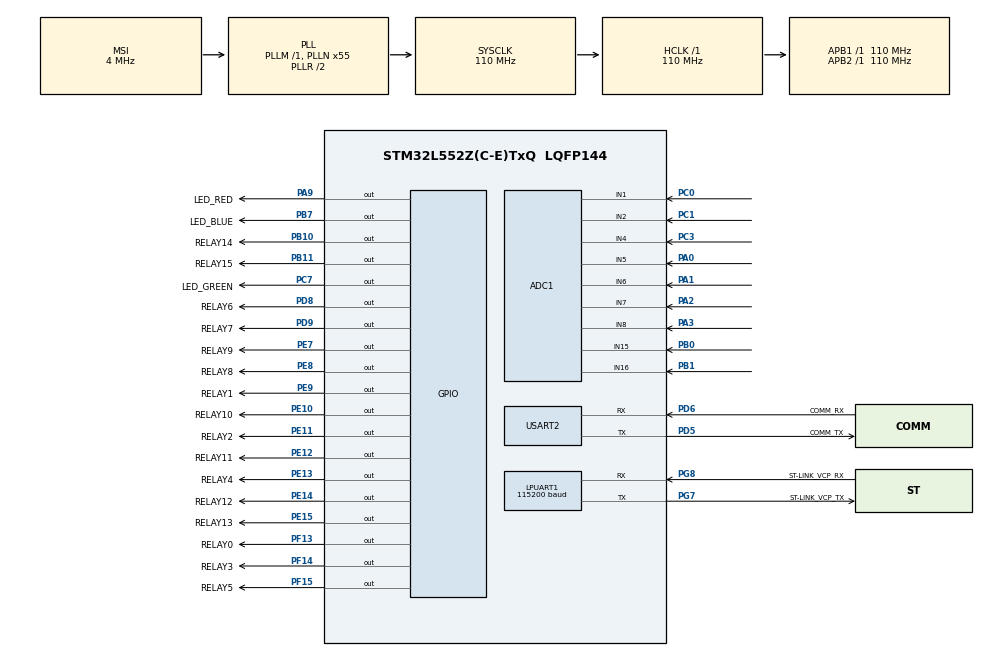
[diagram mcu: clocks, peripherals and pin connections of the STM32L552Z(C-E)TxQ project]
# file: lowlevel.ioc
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ADC1.Channel-0\#ChannelRegularConversion=ADC_CHANNEL_1
ADC1.Channel-1\#ChannelRegularConversion=ADC_CHANNEL_2
ADC1.Channel-2\#ChannelRegularConversion=ADC_CHANNEL_4
ADC1.Channel-3\#ChannelRegularConversion=ADC_CHANNEL_5
ADC1.Channel-4\#ChannelRegularConversion=ADC_CHANNEL_6
ADC1.Channel-5\#ChannelRegularConversion=ADC_CHANNEL_7
ADC1.Channel-6\#ChannelRegularConversion=ADC_CHANNEL_8
ADC1.Channel-7\#ChannelRegularConversion=ADC_CHANNEL_15
ADC1.Channel-8\#ChannelRegularConversion=ADC_CHANNEL_16
ADC1.ClockPrescaler=ADC_CLOCK_ASYNC_DIV64
ADC1.ContinuousConvMode=ENABLE
ADC1.EOCSelection=ADC_EOC_SEQ_CONV
ADC1.NbrOfConversion=9
ADC1.NbrOfConversionFlag=1
ADC1.OffsetNumber-0\#ChannelRegularConversion=ADC_OFFSET_NONE
ADC1.OffsetNumber-1\#ChannelRegularConversion=ADC_OFFSET_NONE
ADC1.OffsetNumber-2\#ChannelRegularConversion=ADC_OFFSET_NONE
ADC1.OffsetNumber-3\#ChannelRegularConversion=ADC_OFFSET_NONE
ADC1.OffsetNumber-4\#ChannelRegularConversion=ADC_OFFSET_NONE
ADC1.OffsetNumber-5\#ChannelRegularConversion=ADC_OFFSET_NONE
ADC1.OffsetNumber-6\#ChannelRegularConversion=ADC_OFFSET_NONE
ADC1.OffsetNumber-7\#ChannelRegularConversion=ADC_OFFSET_NONE
ADC1.OffsetNumber-8\#ChannelRegularConversion=ADC_OFFSET_NONE
ADC1.Rank-0\#ChannelRegularConversion=1
ADC1.Rank-1\#ChannelRegularConversion=2
ADC1.Rank-2\#ChannelRegularConversion=3
ADC1.Rank-3\#ChannelRegularConversion=4
ADC1.Rank-4\#ChannelRegularConversion=5
ADC1.Rank-5\#ChannelRegularConversion=6
ADC1.Rank-6\#ChannelRegularConversion=7
ADC1.Rank-7\#ChannelRegularConversion=8
ADC1.Rank-8\#ChannelRegularConversion=9
ADC1.SamplingTime-0\#ChannelRegularConversion=ADC_SAMPLETIME_2CYCLES_5
ADC1.SamplingTime-1\#ChannelRegularConversion=ADC_SAMPLETIME_2CYCLES_5
ADC1.SamplingTime-2\#ChannelRegularConversion=ADC_SAMPLETIME_2CYCLES_5
ADC1.SamplingTime-3\#ChannelRegularConversion=ADC_SAMPLETIME_2CYCLES_5
ADC1.SamplingTime-4\#ChannelRegularConversion=ADC_SAMPLETIME_2CYCLES_5
ADC1.SamplingTime-5\#ChannelRegularConversion=ADC_SAMPLETIME_2CYCLES_5
ADC1.SamplingTime-6\#ChannelRegularConversion=ADC_SAMPLETIME_2CYCLES_5
ADC1.SamplingTime-7\#ChannelRegularConversion=ADC_SAMPLETIME_2CYCLES_5
ADC1.SamplingTime-8\#ChannelRegularConversion=ADC_SAMPLETIME_2CYCLES_5
ADC1.master=1
Dma.ADC1.4.Channel_PRIV_NPRIV=DMA_CHANNEL_NPRIV_DISABLE
Dma.ADC1.4.Direction=DMA_PERIPH_TO_MEMORY
Dma.ADC1.4.EventEnable=DISABLE
Dma.ADC1.4.Instance=DMA1_Channel3
Dma.ADC1.4.MemDataAlignment=DMA_MDATAALIGN_HALFWORD
Dma.ADC1.4.MemInc=DMA_MINC_ENABLE
Dma.ADC1.4.Mode=DMA_NORMAL
Dma.ADC1.4.PeriphDataAlignment=DMA_PDATAALIGN_HALFWORD
Dma.ADC1.4.PeriphInc=DMA_PINC_DISABLE
Dma.ADC1.4.Polarity=HAL_DMAMUX_REQ_GEN_RISING
Dma.ADC1.4.Priority=DMA_PRIORITY_LOW
Dma.ADC1.4.RequestNumber=1
Dma.ADC1.4.SignalID=NONE
Dma.ADC1.4.SyncEnable=DISABLE
Dma.ADC1.4.SyncPolarity=HAL_DMAMUX_SYNC_NO_EVENT
Dma.ADC1.4.SyncRequestNumber=1
Dma.ADC1.4.SyncSignalID=NONE
Dma.LPUART1_RX.0.Channel_PRIV_NPRIV=DMA_CHANNEL_NPRIV_DISABLE
Dma.LPUART1_RX.0.Direction=DMA_PERIPH_TO_MEMORY
Dma.LPUART1_RX.0.EventEnable=DISABLE
Dma.LPUART1_RX.0.Instance=DMA1_Channel1
Dma.LPUART1_RX.0.MemDataAlignment=DMA_MDATAALIGN_BYTE
Dma.LPUART1_RX.0.MemInc=DMA_MINC_ENABLE
Dma.LPUART1_RX.0.Mode=DMA_CIRCULAR
Dma.LPUART1_RX.0.PeriphDataAlignment=DMA_PDATAALIGN_BYTE
Dma.LPUART1_RX.0.PeriphInc=DMA_PINC_DISABLE
Dma.LPUART1_RX.0.Polarity=HAL_DMAMUX_REQ_GEN_RISING
Dma.LPUART1_RX.0.Priority=DMA_PRIORITY_LOW
Dma.LPUART1_RX.0.RequestNumber=1
Dma.LPUART1_RX.0.SignalID=NONE
Dma.LPUART1_RX.0.SyncEnable=DISABLE
Dma.LPUART1_RX.0.SyncPolarity=HAL_DMAMUX_SYNC_NO_EVENT
Dma.LPUART1_RX.0.SyncRequestNumber=1
Dma.LPUART1_RX.0.SyncSignalID=NONE
Dma.LPUART1_TX.1.Channel_PRIV_NPRIV=DMA_CHANNEL_NPRIV_DISABLE
Dma.LPUART1_TX.1.Direction=DMA_MEMORY_TO_PERIPH
Dma.LPUART1_TX.1.EventEnable=DISABLE
Dma.LPUART1_TX.1.Instance=DMA1_Channel2
Dma.LPUART1_TX.1.MemDataAlignment=DMA_MDATAALIGN_BYTE
Dma.LPUART1_TX.1.MemInc=DMA_MINC_ENABLE
Dma.LPUART1_TX.1.Mode=DMA_NORMAL
Dma.LPUART1_TX.1.PeriphDataAlignment=DMA_PDATAALIGN_BYTE
Dma.LPUART1_TX.1.PeriphInc=DMA_PINC_DISABLE
Dma.LPUART1_TX.1.Polarity=HAL_DMAMUX_REQ_GEN_RISING
Dma.LPUART1_TX.1.Priority=DMA_PRIORITY_LOW
Dma.LPUART1_TX.1.RequestNumber=1
Dma.LPUART1_TX.1.SignalID=NONE
Dma.LPUART1_TX.1.SyncEnable=DISABLE
Dma.LPUART1_TX.1.SyncPolarity=HAL_DMAMUX_SYNC_NO_EVENT
Dma.LPUART1_TX.1.SyncRequestNumber=1
Dma.LPUART1_TX.1.SyncSignalID=NONE
Dma.Request0=LPUART1_RX
Dma.Request1=LPUART1_TX
Dma.Request2=USART2_RX
Dma.Request3=USART2_TX
Dma.Request4=ADC1
Dma.USART2_RX.2.Channel_PRIV_NPRIV=DMA_CHANNEL_NPRIV_DISABLE
Dma.USART2_RX.2.Direction=DMA_PERIPH_TO_MEMORY
Dma.USART2_RX.2.EventEnable=DISABLE
Dma.USART2_RX.2.Instance=DMA2_Channel1
Dma.USART2_RX.2.MemDataAlignment=DMA_MDATAALIGN_BYTE
Dma.USART2_RX.2.MemInc=DMA_MINC_ENABLE
Dma.USART2_RX.2.Mode=DMA_CIRCULAR
Dma.USART2_RX.2.PeriphDataAlignment=DMA_PDATAALIGN_BYTE
Dma.USART2_RX.2.PeriphInc=DMA_PINC_DISABLE
Dma.USART2_RX.2.Polarity=HAL_DMAMUX_REQ_GEN_RISING
Dma.USART2_RX.2.Priority=DMA_PRIORITY_LOW
Dma.USART2_RX.2.RequestNumber=1
Dma.USART2_RX.2.SignalID=NONE
Dma.USART2_RX.2.SyncEnable=DISABLE
Dma.USART2_RX.2.SyncPolarity=HAL_DMAMUX_SYNC_NO_EVENT
Dma.USART2_RX.2.SyncRequestNumber=1
Dma.USART2_RX.2.SyncSignalID=NONE
Dma.USART2_TX.3.Channel_PRIV_NPRIV=DMA_CHANNEL_NPRIV_DISABLE
Dma.USART2_TX.3.Direction=DMA_MEMORY_TO_PERIPH
Dma.USART2_TX.3.EventEnable=DISABLE
Dma.USART2_TX.3.Instance=DMA2_Channel2
Dma.USART2_TX.3.MemDataAlignment=DMA_MDATAALIGN_BYTE
Dma.USART2_TX.3.MemInc=DMA_MINC_ENABLE
Dma.USART2_TX.3.Mode=DMA_NORMAL
Dma.USART2_TX.3.PeriphDataAlignment=DMA_PDATAALIGN_BYTE
Dma.USART2_TX.3.PeriphInc=DMA_PINC_DISABLE
Dma.USART2_TX.3.Polarity=HAL_DMAMUX_REQ_GEN_RISING
Dma.USART2_TX.3.Priority=DMA_PRIORITY_LOW
Dma.USART2_TX.3.RequestNumber=1
Dma.USART2_TX.3.SignalID=NONE
Dma.USART2_TX.3.SyncEnable=DISABLE
Dma.USART2_TX.3.SyncPolarity=HAL_DMAMUX_SYNC_NO_EVENT
Dma.USART2_TX.3.SyncRequestNumber=1
Dma.USART2_TX.3.SyncSignalID=NONE
LPUART1.BaudRate=115200
Mcu.Family=STM32L5
Mcu.Name=STM32L552Z(C-E)TxQ
Mcu.Package=LQFP144
Mcu.TrustZone=disable
NVIC.DMA1_Channel1_IRQn=true\:0\:0\:false\:false\:true\:false\:true\:true
NVIC.DMA1_Channel2_IRQn=true\:0\:0\:false\:false\:true\:false\:true\:true
NVIC.DMA1_Channel3_IRQn=true\:0\:0\:false\:false\:true\:false\:true\:true
NVIC.DMA2_Channel1_IRQn=true\:0\:0\:false\:false\:true\:false\:true\:true
NVIC.DMA2_Channel2_IRQn=true\:0\:0\:false\:false\:true\:false\:true\:true
NVIC.FLASH_IRQn=true\:0\:0\:false\:false\:true\:true\:true\:true
NVIC.LPUART1_IRQn=true\:0\:0\:false\:false\:true\:true\:true\:true
NVIC.PriorityGroup=NVIC_PRIORITYGROUP_3
NVIC.TIM2_IRQn=true\:0\:0\:false\:false\:true\:true\:true\:true
PA0.Signal=ADCx_IN5
PA1.Signal=ADCx_IN6
PA13\ (JTMS/SWDIO).Mode=Trace_Asynchronous_SW
PA13\ (JTMS/SWDIO).Signal=DEBUG_JTMS-SWDIO
PA14\ (JTCK/SWCLK).Mode=Trace_Asynchronous_SW
PA14\ (JTCK/SWCLK).Signal=DEBUG_JTCK-SWCLK
PA2.Signal=ADCx_IN7
PA3.Signal=ADCx_IN8
PA9.GPIO_Label=LED_RED
PA9.Signal=GPIO_Output
PB0.Signal=ADCx_IN15
PB1.Signal=ADCx_IN16
PB10.GPIO_Label=RELAY14
PB10.GPIO_ModeDefaultOutputPP=GPIO_MODE_OUTPUT_OD
PB10.GPIO_PuPd=GPIO_NOPULL
PB10.Signal=GPIO_Output
PB11.GPIO_Label=RELAY15
PB11.GPIO_ModeDefaultOutputPP=GPIO_MODE_OUTPUT_OD
PB11.GPIO_PuPd=GPIO_NOPULL
PB11.Signal=GPIO_Output
PB3\ (JTDO/TRACESWO).Mode=Trace_Asynchronous_SW
PB3\ (JTDO/TRACESWO).Signal=DEBUG_JTDO-SWO
PB7.GPIO_Label=LED_BLUE
PB7.Signal=GPIO_Output
PC0.Signal=ADCx_IN1
PC1.Signal=ADCx_IN2
PC14-OSC32_IN\ (PC14).Mode=LSE-External-Oscillator
PC14-OSC32_IN\ (PC14).Signal=RCC_OSC32_IN
PC15-OSC32_OUT\ (PC15).Mode=LSE-External-Oscillator
PC15-OSC32_OUT\ (PC15).Signal=RCC_OSC32_OUT
PC3.Signal=ADCx_IN4
PC7.GPIO_Label=LED_GREEN
PC7.Signal=GPIO_Output
PD5.GPIO_Label=COMM_TX
PD5.Mode=Asynchronous
PD5.Signal=USART2_TX
PD6.GPIO_Label=COMM_RX
PD6.Mode=Asynchronous
PD6.Signal=USART2_RX
PD8.GPIO_Label=RELAY6
PD8.GPIO_ModeDefaultOutputPP=GPIO_MODE_OUTPUT_OD
PD8.GPIO_PuPd=GPIO_NOPULL
PD8.Signal=GPIO_Output
PD9.GPIO_Label=RELAY7
PD9.GPIO_ModeDefaultOutputPP=GPIO_MODE_OUTPUT_OD
PD9.GPIO_PuPd=GPIO_NOPULL
PD9.Signal=GPIO_Output
PE10.GPIO_Label=RELAY10
PE10.GPIO_ModeDefaultOutputPP=GPIO_MODE_OUTPUT_OD
PE10.GPIO_PuPd=GPIO_NOPULL
PE10.Signal=GPIO_Output
PE11.GPIO_Label=RELAY2
PE11.GPIO_ModeDefaultOutputPP=GPIO_MODE_OUTPUT_OD
PE11.GPIO_PuPd=GPIO_NOPULL
PE11.Signal=GPIO_Output
PE12.GPIO_Label=RELAY11
PE12.GPIO_ModeDefaultOutputPP=GPIO_MODE_OUTPUT_OD
PE12.GPIO_PuPd=GPIO_NOPULL
PE12.Signal=GPIO_Output
PE13.GPIO_Label=RELAY4
PE13.GPIO_ModeDefaultOutputPP=GPIO_MODE_OUTPUT_OD
PE13.GPIO_PuPd=GPIO_NOPULL
PE13.Signal=GPIO_Output
PE14.GPIO_Label=RELAY12
PE14.GPIO_ModeDefaultOutputPP=GPIO_MODE_OUTPUT_OD
PE14.GPIO_PuPd=GPIO_NOPULL
PE14.Signal=GPIO_Output
PE15.GPIO_Label=RELAY13
PE15.GPIO_ModeDefaultOutputPP=GPIO_MODE_OUTPUT_OD
PE15.GPIO_PuPd=GPIO_NOPULL
PE15.Signal=GPIO_Output
PE7.GPIO_Label=RELAY9
PE7.GPIO_ModeDefaultOutputPP=GPIO_MODE_OUTPUT_OD
PE7.GPIO_PuPd=GPIO_NOPULL
PE7.Signal=GPIO_Output
PE8.GPIO_Label=RELAY8
PE8.GPIO_ModeDefaultOutputPP=GPIO_MODE_OUTPUT_OD
PE8.GPIO_PuPd=GPIO_NOPULL
PE8.Signal=GPIO_Output
PE9.GPIO_Label=RELAY1
PE9.GPIO_ModeDefaultOutputPP=GPIO_MODE_OUTPUT_OD
PE9.GPIO_PuPd=GPIO_NOPULL
PE9.Signal=GPIO_Output
PF13.GPIO_Label=RELAY0
PF13.GPIO_ModeDefaultOutputPP=GPIO_MODE_OUTPUT_OD
PF13.GPIO_PuPd=GPIO_NOPULL
PF13.Signal=GPIO_Output
PF14.GPIO_Label=RELAY3
PF14.GPIO_ModeDefaultOutputPP=GPIO_MODE_OUTPUT_OD
PF14.GPIO_PuPd=GPIO_NOPULL
PF14.Signal=GPIO_Output
PF15.GPIO_Label=RELAY5
PF15.GPIO_ModeDefaultOutputPP=GPIO_MODE_OUTPUT_OD
PF15.GPIO_PuPd=GPIO_NOPULL
PF15.Signal=GPIO_Output
PG7.GPIO_Label=ST-LINK_VCP_TX
PG7.Mode=Asynchronous
PG7.Signal=LPUART1_TX
PG8.GPIO_Label=ST-LINK_VCP_RX
PG8.Mode=Asynchronous
PG8.Signal=LPUART1_RX
ProjectManager.HeapSize=0x200
ProjectManager.StackSize=0x400
ProjectManager.TargetToolchain=STM32CubeIDE
RCC.ADCCLockSelection=RCC_ADCCLKSOURCE_SYSCLK
RCC.ADCFreq_Value=110000000
RCC.AHBFreq_Value=110000000
RCC.APB1Freq_Value=110000000
RCC.APB1TimFreq_Value=110000000
RCC.APB2Freq_Value=110000000
RCC.APB2TimFreq_Value=110000000
RCC.CK48CLockSelection=RCC_USBCLKSOURCE_HSI48
RCC.CortexFreq_Value=110000000
RCC.HCLKFreq_Value=110000000
RCC.HSE_VALUE=8000000
RCC.HSI48_VALUE=48000000
RCC.HSI_VALUE=16000000
RCC.MSI_VALUE=4000000
RCC.PLLN=55
RCC.PLLSAI1N=24
RCC.RTCClockSelection=RCC_RTCCLKSOURCE_LSE
RCC.SYSCLKFreq_VALUE=110000000
RCC.SYSCLKSource=RCC_SYSCLKSOURCE_PLLCLK
RCC.USBFreq_Value=48000000
RCC.VCOOutputFreq_Value=220000000
SH.ADCx_IN1.0=ADC1_IN1,IN1-Single-Ended
SH.ADCx_IN15.0=ADC1_IN15,IN15-Single-Ended
SH.ADCx_IN16.0=ADC1_IN16,IN16-Single-Ended
SH.ADCx_IN2.0=ADC1_IN2,IN2-Single-Ended
SH.ADCx_IN4.0=ADC1_IN4,IN4-Single-Ended
SH.ADCx_IN5.0=ADC1_IN5,IN5-Single-Ended
SH.ADCx_IN6.0=ADC1_IN6,IN6-Single-Ended
SH.ADCx_IN7.0=ADC1_IN7,IN7-Single-Ended
SH.ADCx_IN8.0=ADC1_IN8,IN8-Single-Ended
TIM2.ClockDivision=TIM_CLOCKDIVISION_DIV1
TIM2.Prescaler=54999
USART2.VirtualMode-Asynchronous=VM_ASYNC
VP_ICACHE_VS_ICACHE.Mode=DirectMappedCache
VP_RTC_VS_RTC_Activate.Mode=RTC_Enabled
VP_TIM2_VS_ClockSourceINT.Mode=Internal
board=NUCLEO-L552ZE-Q

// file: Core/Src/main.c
/* USER CODE BEGIN Header */
/**
  ******************************************************************************
  * @file           : main.c
  * @brief          : Main program body
  ******************************************************************************
  * @attention
  *
  * Copyright (c) 2023 STMicroelectronics.
  * All rights reserved.
  *
  * This software is licensed under terms that can be found in the LICENSE file
  * in the root directory of this software component.
  * If no LICENSE file comes with this software, it is provided AS-IS.
  *
  ******************************************************************************
  */
/* USER CODE END Header */
#include "main.h"

ADC_HandleTypeDef hadc1;
DMA_HandleTypeDef hdma_adc1;

UART_HandleTypeDef hlpuart1;
UART_HandleTypeDef huart2;
DMA_HandleTypeDef hdma_lpuart1_rx;
DMA_HandleTypeDef hdma_lpuart1_tx;
DMA_HandleTypeDef hdma_usart2_rx;
DMA_HandleTypeDef hdma_usart2_tx;

RTC_HandleTypeDef hrtc;

TIM_HandleTypeDef htim2;

void SystemClock_Config(void);
static void MX_GPIO_Init(void);
static void MX_DMA_Init(void);
static void MX_ICACHE_Init(void);
static void MX_LPUART1_UART_Init(void);
static void MX_RTC_Init(void);
static void MX_TIM2_Init(void);
static void MX_USART2_UART_Init(void);
static void MX_ADC1_Init(void);

/* USER CODE BEGIN 0 */

#define MAIN_UNINITIALIZED 1
#define MAIN_INIT 2
static uint8_t flags = MAIN_UNINITIALIZED;

void main_construct_init()
{
  if (flags & MAIN_UNINITIALIZED) {
    flags |= MAIN_INIT;
    main();
  }
}

/* USER CODE END 0 */

int main(void)
{
  /* USER CODE BEGIN 1 */

  /* flags:
   *   0 - jump to main loop
   *   MAIN_UNINITIALIZED - do all
   *   MAIN_UNINITIALIZED | MAIN_INIT - just initialize
   */
  if (!(flags & MAIN_UNINITIALIZED)) {
	goto skip_init;
  }

  /* USER CODE END 1 */

  /* MCU Configuration--------------------------------------------------------*/

  /* Reset of all peripherals, Initializes the Flash interface and the Systick. */
  HAL_Init();

  /* Configure the system clock */
  SystemClock_Config();

  /* Initialize all configured peripherals */
  MX_GPIO_Init();
  MX_DMA_Init();
  MX_ICACHE_Init();
  MX_LPUART1_UART_Init();
  MX_RTC_Init();
  MX_TIM2_Init();
  MX_USART2_UART_Init();
  MX_ADC1_Init();
  /* USER CODE BEGIN 2 */

  main_post_init();

  flags &= ~MAIN_UNINITIALIZED;

skip_init:

  if (flags & MAIN_INIT) {
	flags &= ~MAIN_INIT;
	return 0;
  }

  main_pre_loop();

  /* USER CODE END 2 */

  /* Infinite loop */
  while (1)
  {

    /* USER CODE BEGIN 3 */
	  main_loop();
  }
  /* USER CODE END 3 */
}

void SystemClock_Config(void)
{
  RCC_OscInitTypeDef RCC_OscInitStruct = {0};
  RCC_ClkInitTypeDef RCC_ClkInitStruct = {0};

  /** Configure the main internal regulator output voltage
  */
  if (HAL_PWREx_ControlVoltageScaling(PWR_REGULATOR_VOLTAGE_SCALE0) != HAL_OK)
  {
    Error_Handler();
  }

  /** Configure LSE Drive Capability
  */
  HAL_PWR_EnableBkUpAccess();
  __HAL_RCC_LSEDRIVE_CONFIG(RCC_LSEDRIVE_LOW);

  /** Initializes the RCC Oscillators according to the specified parameters
  * in the RCC_OscInitTypeDef structure.
  */
  RCC_OscInitStruct.OscillatorType = RCC_OSCILLATORTYPE_LSE|RCC_OSCILLATORTYPE_MSI;
  RCC_OscInitStruct.LSEState = RCC_LSE_ON;
  RCC_OscInitStruct.MSIState = RCC_MSI_ON;
  RCC_OscInitStruct.MSICalibrationValue = RCC_MSICALIBRATION_DEFAULT;
  RCC_OscInitStruct.MSIClockRange = RCC_MSIRANGE_6;
  RCC_OscInitStruct.PLL.PLLState = RCC_PLL_ON;
  RCC_OscInitStruct.PLL.PLLSource = RCC_PLLSOURCE_MSI;
  RCC_OscInitStruct.PLL.PLLM = 1;
  RCC_OscInitStruct.PLL.PLLN = 55;
  RCC_OscInitStruct.PLL.PLLP = RCC_PLLP_DIV7;
  RCC_OscInitStruct.PLL.PLLQ = RCC_PLLQ_DIV2;
  RCC_OscInitStruct.PLL.PLLR = RCC_PLLR_DIV2;
  if (HAL_RCC_OscConfig(&RCC_OscInitStruct) != HAL_OK)
  {
    Error_Handler();
  }

  /** Initializes the CPU, AHB and APB buses clocks
  */
  RCC_ClkInitStruct.ClockType = RCC_CLOCKTYPE_HCLK|RCC_CLOCKTYPE_SYSCLK
                              |RCC_CLOCKTYPE_PCLK1|RCC_CLOCKTYPE_PCLK2;
  RCC_ClkInitStruct.SYSCLKSource = RCC_SYSCLKSOURCE_PLLCLK;
  RCC_ClkInitStruct.AHBCLKDivider = RCC_SYSCLK_DIV1;
  RCC_ClkInitStruct.APB1CLKDivider = RCC_HCLK_DIV1;
  RCC_ClkInitStruct.APB2CLKDivider = RCC_HCLK_DIV1;

  if (HAL_RCC_ClockConfig(&RCC_ClkInitStruct, FLASH_LATENCY_5) != HAL_OK)
  {
    Error_Handler();
  }
}

static void MX_ADC1_Init(void)
{

  ADC_MultiModeTypeDef multimode = {0};
  ADC_ChannelConfTypeDef sConfig = {0};

  /** Common config
  */
  hadc1.Instance = ADC1;
  hadc1.Init.ClockPrescaler = ADC_CLOCK_ASYNC_DIV64;
  hadc1.Init.Resolution = ADC_RESOLUTION_12B;
  hadc1.Init.DataAlign = ADC_DATAALIGN_RIGHT;
  hadc1.Init.ScanConvMode = ADC_SCAN_ENABLE;
  hadc1.Init.EOCSelection = ADC_EOC_SEQ_CONV;
  hadc1.Init.LowPowerAutoWait = DISABLE;
  hadc1.Init.ContinuousConvMode = ENABLE;
  hadc1.Init.NbrOfConversion = 9;
  hadc1.Init.DiscontinuousConvMode = DISABLE;
  hadc1.Init.ExternalTrigConv = ADC_SOFTWARE_START;
  hadc1.Init.ExternalTrigConvEdge = ADC_EXTERNALTRIGCONVEDGE_NONE;
  hadc1.Init.DMAContinuousRequests = DISABLE;
  hadc1.Init.Overrun = ADC_OVR_DATA_PRESERVED;
  hadc1.Init.OversamplingMode = DISABLE;
  if (HAL_ADC_Init(&hadc1) != HAL_OK)
  {
    Error_Handler();
  }

  /** Configure the ADC multi-mode
  */
  multimode.Mode = ADC_MODE_INDEPENDENT;
  if (HAL_ADCEx_MultiModeConfigChannel(&hadc1, &multimode) != HAL_OK)
  {
    Error_Handler();
  }

  /** Configure Regular Channel
  */
  sConfig.Channel = ADC_CHANNEL_1;
  sConfig.Rank = ADC_REGULAR_RANK_1;
  sConfig.SamplingTime = ADC_SAMPLETIME_2CYCLES_5;
  sConfig.SingleDiff = ADC_SINGLE_ENDED;
  sConfig.OffsetNumber = ADC_OFFSET_NONE;
  sConfig.Offset = 0;
  if (HAL_ADC_ConfigChannel(&hadc1, &sConfig) != HAL_OK)
  {
    Error_Handler();
  }

  /** Configure Regular Channel
  */
  sConfig.Channel = ADC_CHANNEL_2;
  sConfig.Rank = ADC_REGULAR_RANK_2;
  if (HAL_ADC_ConfigChannel(&hadc1, &sConfig) != HAL_OK)
  {
    Error_Handler();
  }

  /** Configure Regular Channel
  */
  sConfig.Channel = ADC_CHANNEL_4;
  sConfig.Rank = ADC_REGULAR_RANK_3;
  if (HAL_ADC_ConfigChannel(&hadc1, &sConfig) != HAL_OK)
  {
    Error_Handler();
  }

  /** Configure Regular Channel
  */
  sConfig.Channel = ADC_CHANNEL_5;
  sConfig.Rank = ADC_REGULAR_RANK_4;
  if (HAL_ADC_ConfigChannel(&hadc1, &sConfig) != HAL_OK)
  {
    Error_Handler();
  }

  /** Configure Regular Channel
  */
  sConfig.Channel = ADC_CHANNEL_6;
  sConfig.Rank = ADC_REGULAR_RANK_5;
  if (HAL_ADC_ConfigChannel(&hadc1, &sConfig) != HAL_OK)
  {
    Error_Handler();
  }

  /** Configure Regular Channel
  */
  sConfig.Channel = ADC_CHANNEL_7;
  sConfig.Rank = ADC_REGULAR_RANK_6;
  if (HAL_ADC_ConfigChannel(&hadc1, &sConfig) != HAL_OK)
  {
    Error_Handler();
  }

  /** Configure Regular Channel
  */
  sConfig.Channel = ADC_CHANNEL_8;
  sConfig.Rank = ADC_REGULAR_RANK_7;
  if (HAL_ADC_ConfigChannel(&hadc1, &sConfig) != HAL_OK)
  {
    Error_Handler();
  }

  /** Configure Regular Channel
  */
  sConfig.Channel = ADC_CHANNEL_15;
  sConfig.Rank = ADC_REGULAR_RANK_8;
  if (HAL_ADC_ConfigChannel(&hadc1, &sConfig) != HAL_OK)
  {
    Error_Handler();
  }

  /** Configure Regular Channel
  */
  sConfig.Channel = ADC_CHANNEL_16;
  sConfig.Rank = ADC_REGULAR_RANK_9;
  if (HAL_ADC_ConfigChannel(&hadc1, &sConfig) != HAL_OK)
  {
    Error_Handler();
  }

}

static void MX_ICACHE_Init(void)
{

  /** Enable instruction cache in 1-way (direct mapped cache)
  */
  if (HAL_ICACHE_ConfigAssociativityMode(ICACHE_1WAY) != HAL_OK)
  {
    Error_Handler();
  }
  if (HAL_ICACHE_Enable() != HAL_OK)
  {
    Error_Handler();
  }

}

static void MX_LPUART1_UART_Init(void)
{

  hlpuart1.Instance = LPUART1;
  hlpuart1.Init.BaudRate = 115200;
  hlpuart1.Init.WordLength = UART_WORDLENGTH_8B;
  hlpuart1.Init.StopBits = UART_STOPBITS_1;
  hlpuart1.Init.Parity = UART_PARITY_NONE;
  hlpuart1.Init.Mode = UART_MODE_TX_RX;
  hlpuart1.Init.HwFlowCtl = UART_HWCONTROL_NONE;
  hlpuart1.Init.OneBitSampling = UART_ONE_BIT_SAMPLE_DISABLE;
  hlpuart1.Init.ClockPrescaler = UART_PRESCALER_DIV1;
  hlpuart1.AdvancedInit.AdvFeatureInit = UART_ADVFEATURE_NO_INIT;
  hlpuart1.FifoMode = UART_FIFOMODE_DISABLE;
  if (HAL_UART_Init(&hlpuart1) != HAL_OK)
  {
    Error_Handler();
  }
  if (HAL_UARTEx_SetTxFifoThreshold(&hlpuart1, UART_TXFIFO_THRESHOLD_1_8) != HAL_OK)
  {
    Error_Handler();
  }
  if (HAL_UARTEx_SetRxFifoThreshold(&hlpuart1, UART_RXFIFO_THRESHOLD_1_8) != HAL_OK)
  {
    Error_Handler();
  }
  if (HAL_UARTEx_DisableFifoMode(&hlpuart1) != HAL_OK)
  {
    Error_Handler();
  }

}

static void MX_USART2_UART_Init(void)
{

  huart2.Instance = USART2;
  huart2.Init.BaudRate = 115200;
  huart2.Init.WordLength = UART_WORDLENGTH_8B;
  huart2.Init.StopBits = UART_STOPBITS_1;
  huart2.Init.Parity = UART_PARITY_NONE;
  huart2.Init.Mode = UART_MODE_TX_RX;
  huart2.Init.HwFlowCtl = UART_HWCONTROL_NONE;
  huart2.Init.OverSampling = UART_OVERSAMPLING_16;
  huart2.Init.OneBitSampling = UART_ONE_BIT_SAMPLE_DISABLE;
  huart2.Init.ClockPrescaler = UART_PRESCALER_DIV1;
  huart2.AdvancedInit.AdvFeatureInit = UART_ADVFEATURE_NO_INIT;
  if (HAL_UART_Init(&huart2) != HAL_OK)
  {
    Error_Handler();
  }
  if (HAL_UARTEx_SetTxFifoThreshold(&huart2, UART_TXFIFO_THRESHOLD_1_8) != HAL_OK)
  {
    Error_Handler();
  }
  if (HAL_UARTEx_SetRxFifoThreshold(&huart2, UART_RXFIFO_THRESHOLD_1_8) != HAL_OK)
  {
    Error_Handler();
  }
  if (HAL_UARTEx_DisableFifoMode(&huart2) != HAL_OK)
  {
    Error_Handler();
  }

}

static void MX_RTC_Init(void)
{

  RTC_PrivilegeStateTypeDef privilegeState = {0};

  /** Initialize RTC Only
  */
  hrtc.Instance = RTC;
  hrtc.Init.HourFormat = RTC_HOURFORMAT_24;
  hrtc.Init.AsynchPrediv = 127;
  hrtc.Init.SynchPrediv = 255;
  hrtc.Init.OutPut = RTC_OUTPUT_DISABLE;
  hrtc.Init.OutPutRemap = RTC_OUTPUT_REMAP_NONE;
  hrtc.Init.OutPutPolarity = RTC_OUTPUT_POLARITY_HIGH;
  hrtc.Init.OutPutType = RTC_OUTPUT_TYPE_OPENDRAIN;
  hrtc.Init.OutPutPullUp = RTC_OUTPUT_PULLUP_NONE;
  if (HAL_RTC_Init(&hrtc) != HAL_OK)
  {
    Error_Handler();
  }
  privilegeState.rtcPrivilegeFull = RTC_PRIVILEGE_FULL_NO;
  privilegeState.backupRegisterPrivZone = RTC_PRIVILEGE_BKUP_ZONE_NONE;
  privilegeState.backupRegisterStartZone2 = RTC_BKP_DR0;
  privilegeState.backupRegisterStartZone3 = RTC_BKP_DR0;
  if (HAL_RTCEx_PrivilegeModeSet(&hrtc, &privilegeState) != HAL_OK)
  {
    Error_Handler();
  }

}

static void MX_TIM2_Init(void)
{

  TIM_ClockConfigTypeDef sClockSourceConfig = {0};
  TIM_MasterConfigTypeDef sMasterConfig = {0};

  htim2.Instance = TIM2;
  htim2.Init.Prescaler = 54999;
  htim2.Init.CounterMode = TIM_COUNTERMODE_UP;
  htim2.Init.Period = 4294967295;
  htim2.Init.ClockDivision = TIM_CLOCKDIVISION_DIV1;
  htim2.Init.AutoReloadPreload = TIM_AUTORELOAD_PRELOAD_DISABLE;
  if (HAL_TIM_Base_Init(&htim2) != HAL_OK)
  {
    Error_Handler();
  }
  sClockSourceConfig.ClockSource = TIM_CLOCKSOURCE_INTERNAL;
  if (HAL_TIM_ConfigClockSource(&htim2, &sClockSourceConfig) != HAL_OK)
  {
    Error_Handler();
  }
  sMasterConfig.MasterOutputTrigger = TIM_TRGO_RESET;
  sMasterConfig.MasterSlaveMode = TIM_MASTERSLAVEMODE_DISABLE;
  if (HAL_TIMEx_MasterConfigSynchronization(&htim2, &sMasterConfig) != HAL_OK)
  {
    Error_Handler();
  }

}

static void MX_DMA_Init(void)
{

  /* DMA controller clock enable */
  __HAL_RCC_DMAMUX1_CLK_ENABLE();
  __HAL_RCC_DMA1_CLK_ENABLE();
  __HAL_RCC_DMA2_CLK_ENABLE();

  /* DMA interrupt init */
  /* DMA1_Channel1_IRQn interrupt configuration */
  HAL_NVIC_SetPriority(DMA1_Channel1_IRQn, 0, 0);
  HAL_NVIC_EnableIRQ(DMA1_Channel1_IRQn);
  /* DMA1_Channel2_IRQn interrupt configuration */
  HAL_NVIC_SetPriority(DMA1_Channel2_IRQn, 0, 0);
  HAL_NVIC_EnableIRQ(DMA1_Channel2_IRQn);
  /* DMA1_Channel3_IRQn interrupt configuration */
  HAL_NVIC_SetPriority(DMA1_Channel3_IRQn, 0, 0);
  HAL_NVIC_EnableIRQ(DMA1_Channel3_IRQn);
  /* DMA2_Channel1_IRQn interrupt configuration */
  HAL_NVIC_SetPriority(DMA2_Channel1_IRQn, 0, 0);
  HAL_NVIC_EnableIRQ(DMA2_Channel1_IRQn);
  /* DMA2_Channel2_IRQn interrupt configuration */
  HAL_NVIC_SetPriority(DMA2_Channel2_IRQn, 0, 0);
  HAL_NVIC_EnableIRQ(DMA2_Channel2_IRQn);

}

static void MX_GPIO_Init(void)
{
  GPIO_InitTypeDef GPIO_InitStruct = {0};

  /* GPIO Ports Clock Enable */
  __HAL_RCC_GPIOC_CLK_ENABLE();
  __HAL_RCC_GPIOA_CLK_ENABLE();
  __HAL_RCC_GPIOB_CLK_ENABLE();
  __HAL_RCC_GPIOF_CLK_ENABLE();
  __HAL_RCC_GPIOE_CLK_ENABLE();
  __HAL_RCC_GPIOD_CLK_ENABLE();
  __HAL_RCC_GPIOG_CLK_ENABLE();
  HAL_PWREx_EnableVddIO2();

  /*Configure GPIO pin Output Level */
  HAL_GPIO_WritePin(GPIOF, RELAY0_Pin|RELAY3_Pin|RELAY5_Pin, GPIO_PIN_RESET);

  /*Configure GPIO pin Output Level */
  HAL_GPIO_WritePin(GPIOE, RELAY9_Pin|RELAY8_Pin|RELAY1_Pin|RELAY10_Pin
                          |RELAY2_Pin|RELAY11_Pin|RELAY4_Pin|RELAY12_Pin
                          |RELAY13_Pin, GPIO_PIN_RESET);

  /*Configure GPIO pin Output Level */
  HAL_GPIO_WritePin(GPIOB, RELAY14_Pin|RELAY15_Pin|LED_BLUE_Pin, GPIO_PIN_RESET);

  /*Configure GPIO pin Output Level */
  HAL_GPIO_WritePin(GPIOD, RELAY6_Pin|RELAY7_Pin, GPIO_PIN_RESET);

  /*Configure GPIO pin Output Level */
  HAL_GPIO_WritePin(LED_GREEN_GPIO_Port, LED_GREEN_Pin, GPIO_PIN_RESET);

  /*Configure GPIO pin Output Level */
  HAL_GPIO_WritePin(LED_RED_GPIO_Port, LED_RED_Pin, GPIO_PIN_RESET);

  /*Configure GPIO pins : RELAY0_Pin RELAY3_Pin RELAY5_Pin */
  GPIO_InitStruct.Pin = RELAY0_Pin|RELAY3_Pin|RELAY5_Pin;
  GPIO_InitStruct.Mode = GPIO_MODE_OUTPUT_OD;
  GPIO_InitStruct.Pull = GPIO_NOPULL;
  GPIO_InitStruct.Speed = GPIO_SPEED_FREQ_LOW;
  HAL_GPIO_Init(GPIOF, &GPIO_InitStruct);

  /*Configure GPIO pins : RELAY9_Pin RELAY8_Pin RELAY1_Pin RELAY10_Pin
                           RELAY2_Pin RELAY11_Pin RELAY4_Pin RELAY12_Pin
                           RELAY13_Pin */
  GPIO_InitStruct.Pin = RELAY9_Pin|RELAY8_Pin|RELAY1_Pin|RELAY10_Pin
                          |RELAY2_Pin|RELAY11_Pin|RELAY4_Pin|RELAY12_Pin
                          |RELAY13_Pin;
  GPIO_InitStruct.Mode = GPIO_MODE_OUTPUT_OD;
  GPIO_InitStruct.Pull = GPIO_NOPULL;
  GPIO_InitStruct.Speed = GPIO_SPEED_FREQ_LOW;
  HAL_GPIO_Init(GPIOE, &GPIO_InitStruct);

  /*Configure GPIO pins : RELAY14_Pin RELAY15_Pin */
  GPIO_InitStruct.Pin = RELAY14_Pin|RELAY15_Pin;
  GPIO_InitStruct.Mode = GPIO_MODE_OUTPUT_OD;
  GPIO_InitStruct.Pull = GPIO_NOPULL;
  GPIO_InitStruct.Speed = GPIO_SPEED_FREQ_LOW;
  HAL_GPIO_Init(GPIOB, &GPIO_InitStruct);

  /*Configure GPIO pins : RELAY6_Pin RELAY7_Pin */
  GPIO_InitStruct.Pin = RELAY6_Pin|RELAY7_Pin;
  GPIO_InitStruct.Mode = GPIO_MODE_OUTPUT_OD;
  GPIO_InitStruct.Pull = GPIO_NOPULL;
  GPIO_InitStruct.Speed = GPIO_SPEED_FREQ_LOW;
  HAL_GPIO_Init(GPIOD, &GPIO_InitStruct);

  /*Configure GPIO pin : LED_GREEN_Pin */
  GPIO_InitStruct.Pin = LED_GREEN_Pin;
  GPIO_InitStruct.Mode = GPIO_MODE_OUTPUT_PP;
  GPIO_InitStruct.Pull = GPIO_NOPULL;
  GPIO_InitStruct.Speed = GPIO_SPEED_FREQ_LOW;
  HAL_GPIO_Init(LED_GREEN_GPIO_Port, &GPIO_InitStruct);

  /*Configure GPIO pin : LED_RED_Pin */
  GPIO_InitStruct.Pin = LED_RED_Pin;
  GPIO_InitStruct.Mode = GPIO_MODE_OUTPUT_PP;
  GPIO_InitStruct.Pull = GPIO_NOPULL;
  GPIO_InitStruct.Speed = GPIO_SPEED_FREQ_LOW;
  HAL_GPIO_Init(LED_RED_GPIO_Port, &GPIO_InitStruct);

  /*Configure GPIO pin : LED_BLUE_Pin */
  GPIO_InitStruct.Pin = LED_BLUE_Pin;
  GPIO_InitStruct.Mode = GPIO_MODE_OUTPUT_PP;
  GPIO_InitStruct.Pull = GPIO_NOPULL;
  GPIO_InitStruct.Speed = GPIO_SPEED_FREQ_LOW;
  HAL_GPIO_Init(LED_BLUE_GPIO_Port, &GPIO_InitStruct);

/* USER CODE BEGIN MX_GPIO_Init_2 */
  gpio_post_init();
/* USER CODE END MX_GPIO_Init_2 */
}

void Error_Handler(void)
{
  /* USER CODE BEGIN Error_Handler_Debug */
  /* User can add his own implementation to report the HAL error return state */
  __disable_irq();
  while (1) // TODO: better error handler
  {
  }
  /* USER CODE END Error_Handler_Debug */
}

#ifdef  USE_FULL_ASSERT
/**
  * @brief  Reports the name of the source file and the source line number
  *         where the assert_param error has occurred.
  * @param  file: pointer to the source file name
  * @param  line: assert_param error line source number
  * @retval None
  */
void assert_failed(uint8_t *file, uint32_t line)
{
  /* USER CODE BEGIN 6 */
  /* User can add his own implementation to report the file name and line number,
     ex: printf("Wrong parameters value: file %s on line %d\r\n", file, line) */
  // TODO: consider enabling asserts
  /* USER CODE END 6 */
}
#endif /* USE_FULL_ASSERT */
